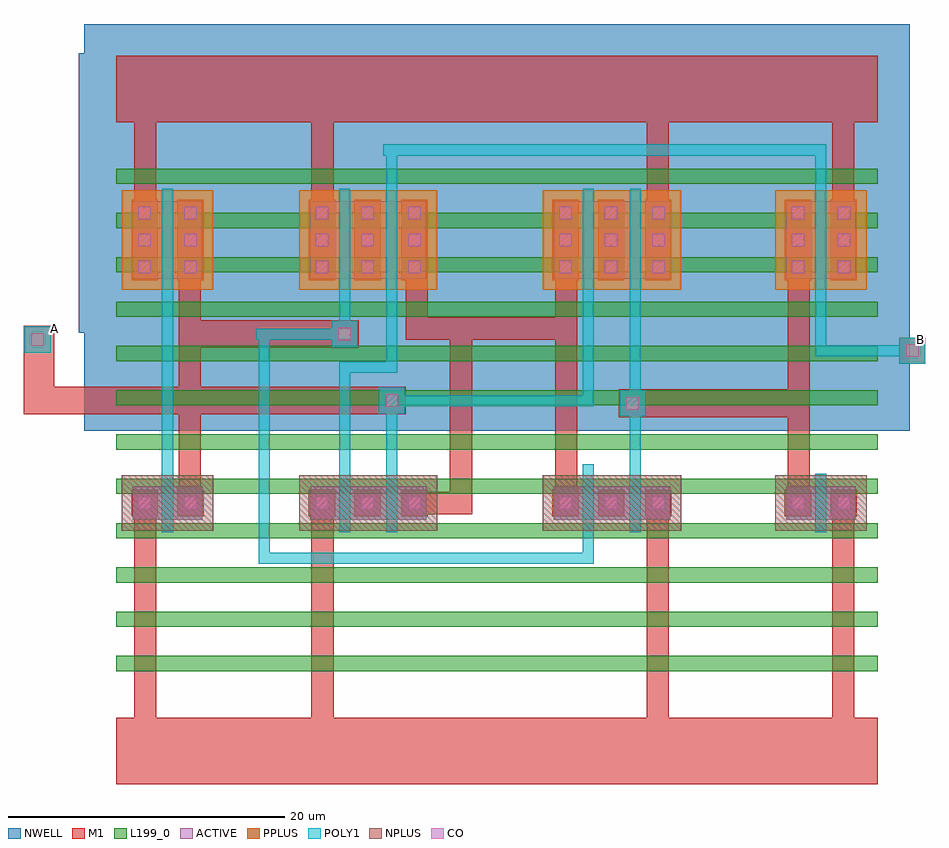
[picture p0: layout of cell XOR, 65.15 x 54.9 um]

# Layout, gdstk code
from math import pi, radians
import gdstk
lib = gdstk.Library(unit=1e-6, precision=1e-08)
def R(c, l, rs):  # rectangles x0, y0, x1, y1
    for r in rs: c.add(gdstk.rectangle(r[:2], r[2:], *l))
def A(c, l, x, y, w, h, nx, ny, dx, dy):  # array of equal rectangles
    R(c, l, [(x+i*dx, y+j*dy, x+i*dx+w, y+j*dy+h) for i in range(nx) for j in range(ny)])
ACTIVE = (10, 0)
NWELL = (20, 0)
NPLUS = (25, 0)
PPLUS = (26, 0)
POLY1 = (30, 0)
CO = (35, 0)
M1 = (40, 0)
L199_0 = (199, 0)

pmos_2 = lib.new_cell('pMOS$2')
R(pmos_2, ACTIVE, [(-2.5,-2.8,-0.8,2.8), (-1.4,-2.8,1.4,2.8), (0.8,-2.8,2.5,2.8)])
R(pmos_2, NWELL, [(-4.9,-5.2,4.9,5.2)])
R(pmos_2, PPLUS, [(-3.3,-3.6,3.3,3.6)])
R(pmos_2, POLY1, [(-0.4,-3.7,0.4,3.7)])
A(pmos_2, CO, -2.1, -2.4, 0.9, 0.9, 1, 3, 0, 1.95)
A(pmos_2, CO, 1.2, -2.4, 0.9, 0.9, 1, 3, 0, 1.95)
R(pmos_2, M1, [(-2.6,-2.9,-0.7,2.9), (0.7,-2.9,2.6,2.9)])

contactpoly1 = lib.new_cell('ContactPoly1')
R(contactpoly1, POLY1, [(-0.95,-0.95,0.95,0.95)])
R(contactpoly1, CO, [(-0.45,-0.45,0.45,0.45)])
R(contactpoly1, M1, [(-0.95,-0.95,0.95,0.95)])

nmos_2 = lib.new_cell('nMOS$2')
R(nmos_2, ACTIVE, [(-2.5,-1.2,-0.8,1.2), (-1.4,-1.2,1.4,1.2), (0.8,-1.2,2.5,1.2)])
R(nmos_2, NPLUS, [(-3.3,-2,3.3,2)])
R(nmos_2, POLY1, [(-0.4,-2.1,0.4,2.1)])
R(nmos_2, CO, [(-2.1,-0.45,-1.2,0.45), (1.2,-0.45,2.1,0.45)])
R(nmos_2, M1, [(-2.6,-0.95,-0.7,0.95), (0.7,-0.95,2.6,0.95)])

pmos_3 = lib.new_cell('pMOS$3')
R(pmos_3, ACTIVE, [(-2.5,-2.8,-0.8,2.8), (-1.4,-2.8,1.4,2.8)])
R(pmos_3, NWELL, [(-4.9,-5.2,3.8,5.2)])
R(pmos_3, PPLUS, [(-3.3,-3.6,2.2,3.6)])
R(pmos_3, POLY1, [(-0.4,-3.7,0.4,3.7)])
A(pmos_3, CO, -2.1, -2.4, 0.9, 0.9, 1, 3, 0, 1.95)
R(pmos_3, M1, [(-2.6,-2.9,-0.7,2.9)])

nmos_3 = lib.new_cell('nMOS$3')
R(nmos_3, ACTIVE, [(-1.4,-1.2,1.4,1.2), (0.8,-1.2,2.5,1.2)])
R(nmos_3, NPLUS, [(-2.2,-2,3.3,2)])
R(nmos_3, POLY1, [(-0.4,-2.1,0.4,2.1)])
R(nmos_3, CO, [(1.2,-0.45,2.1,0.45)])
R(nmos_3, M1, [(0.7,-0.95,2.6,0.95)])

rails_2 = lib.new_cell('RAILS$2')
R(rails_2, NWELL, [(-29.8,-0.8,29.8,28.6)])
R(rails_2, M1, [(-27.5,-26.3,27.5,-21.5), (-27.5,21.5,27.5,26.3)])
A(rails_2, L199_0, -27.5, -18.15, 55, 1.1, 1, 12, 0, 3.2)

xor = lib.new_cell('XOR')
R(xor, NWELL, [(-9.6,22.9,50.4,43.1)])
R(xor, POLY1, [(3.4,6.2,4.2,23.2), (3.4,6.2,27.6,7), (26.8,6.2,27.6,13.4), (9.2,10.6,10,20.6), (12.6,10.6,13.4,18.4), (30.2,10.6,31,30.2), (-3.6,11.4,-2.8,29.6), (12.6,17.6,27.6,18.4), (26.8,17.6,27.6,30.2), (9.2,20,13.4,20.8), (12.6,20.4,13.4,36.4), (43.6,21.2,44.4,36.4), (43.6,21.2,51,22), (3.2,22.4,10,23.2), (9.2,22.4,10,29.4), (12.4,35.7,44.4,36.5)])
R(xor, M1, [(31.4,-6.8,33,11.4), (44.8,-6.8,46.4,11.4), (-5.6,-6.6,-4,11.2), (7.2,-6.6,8.8,11.6), (-2.4,9.8,-0.8,28.8), (13.8,9.8,18.8,11.4), (17.2,9.8,18.8,24), (24.8,9.8,26.4,28.8), (41.6,9.8,43.2,28.8), (29.4,16.8,43.2,18.8), (-13.6,17,-11.4,23.4), (-13.4,17,14,19), (-2.4,21.8,10.6,23.8), (14,22.4,15.6,28.8), (14.2,22.4,26.4,24), (-5.6,30.4,-4,40), (7.2,30.4,8.8,40), (31.4,30.4,33,40), (44.8,30.4,46.4,40)])
xor.add(gdstk.Reference(pmos_2, (-3.2,29.6), rotation=pi))
xor.add(gdstk.Reference(contactpoly1, (-12.6,22.4), rotation=pi))
xor.add(gdstk.Reference(nmos_2, (-3.2,10.6)))
xor.add(gdstk.Reference(pmos_2, (44,29.6), rotation=pi))
xor.add(gdstk.Reference(pmos_3, (30.6,29.6), rotation=pi))
xor.add(gdstk.Reference(nmos_2, (44,10.6)))
xor.add(gdstk.Reference(nmos_2, (27.2,10.6)))
xor.add(gdstk.Reference(nmos_2, (9.6,10.6)))
xor.add(gdstk.Reference(nmos_3, (30.6,10.6)))
xor.add(gdstk.Reference(pmos_3, (13,29.6), rotation=pi))
xor.add(gdstk.Reference(pmos_2, (27.2,29.6), rotation=pi))
xor.add(gdstk.Reference(nmos_3, (13,10.6)))
xor.add(gdstk.Reference(contactpoly1, (50.6,21.6), rotation=pi))
xor.add(gdstk.Reference(contactpoly1, (30.4,17.8), rotation=pi))
xor.add(gdstk.Reference(contactpoly1, (9.6,22.8), rotation=pi))
xor.add(gdstk.Reference(contactpoly1, (13,18), rotation=pi))
xor.add(gdstk.Reference(pmos_2, (9.6,29.6), rotation=pi))
xor.add(gdstk.Reference(rails_2, (20.6,16.6)))
xor.add(gdstk.Label('A', (-11.4,23.2), layer=40, texttype=0))
xor.add(gdstk.Label('B', (51.2,22.4), layer=40, texttype=0))

lib.write_gds('XOR.gds')
